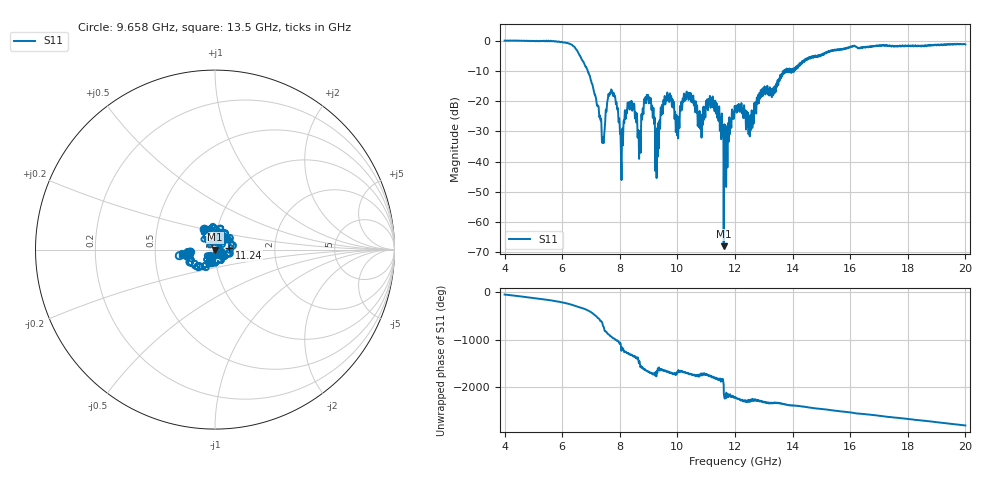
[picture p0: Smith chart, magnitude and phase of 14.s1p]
[Version] 2.0
! Rohde & Schwarz Vector Network Analyzer
! Rohde-Schwarz,ZNL20-2Port,1323001220200009,1.71.1.10-23.02.1.238
! Port Assignments:
! Nominal Port -> Actual Test Port
!  1 -> 1
! Created: GMT+2 2025-01-17 12:48:47
# Hz S RI R 50
[Number of Ports] 1
! freq[Hz]  S11[Re]  S11[Im]
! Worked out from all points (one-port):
!   16001 points, 4 GHz to 20 GHz, reference 50 ohm
!   lowest |S11| = -68.0 dB at 11.61 GHz (marker M1), VSWR 1.00, Z = 50 + j0.0389 ohm
!   |S11| at or under -10 dB: 6.883 GHz to 13.7 GHz (6.815 GHz wide, 66.2 % of centre); 13.712 GHz to 13.73983 GHz (27.83 MHz wide, 0.203 % of centre); 13.94147 GHz to 13.96413 GHz (22.67 MHz wide, 0.162 % of centre)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
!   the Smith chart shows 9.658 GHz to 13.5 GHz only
!   S11 on the Smith chart (normalised r, x): 9.658 GHz: 0.86, +0.20; 11.24 GHz: 1.17, +0.02; 13.5 GHz: 0.69, -0.04
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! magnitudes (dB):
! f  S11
! 4 GHz  0.0
! 6 GHz  -0.5
! 6.888 GHz  -10.3
! 7.409 GHz  -32.1
! 7.628 GHz  -18.3
! 7.767 GHz  -18.3
! 8 GHz  -29.6
! 8.082 GHz  -29.2
! 8.342 GHz  -22.7
! 8.687 GHz  -30.6
! 8.823 GHz  -23.8
! 9.003 GHz  -20.5
! 9.297 GHz  -29.1
! 9.658 GHz  -17.8
! 10 GHz  -25.6
! 10.29 GHz  -19.5
! 10.78 GHz  -23.7
! 11.24 GHz  -21.9
! 11.61 GHz  -68.0
! 11.67 GHz  -28.3
! 12 GHz  -22.4
! 12.54 GHz  -24.5
! 12.92 GHz  -18.4
! 13.5 GHz  -14.7
! 14 GHz  -10.2
! 16 GHz  -2.0
! 18 GHz  -1.6
! 20 GHz  -1.2
